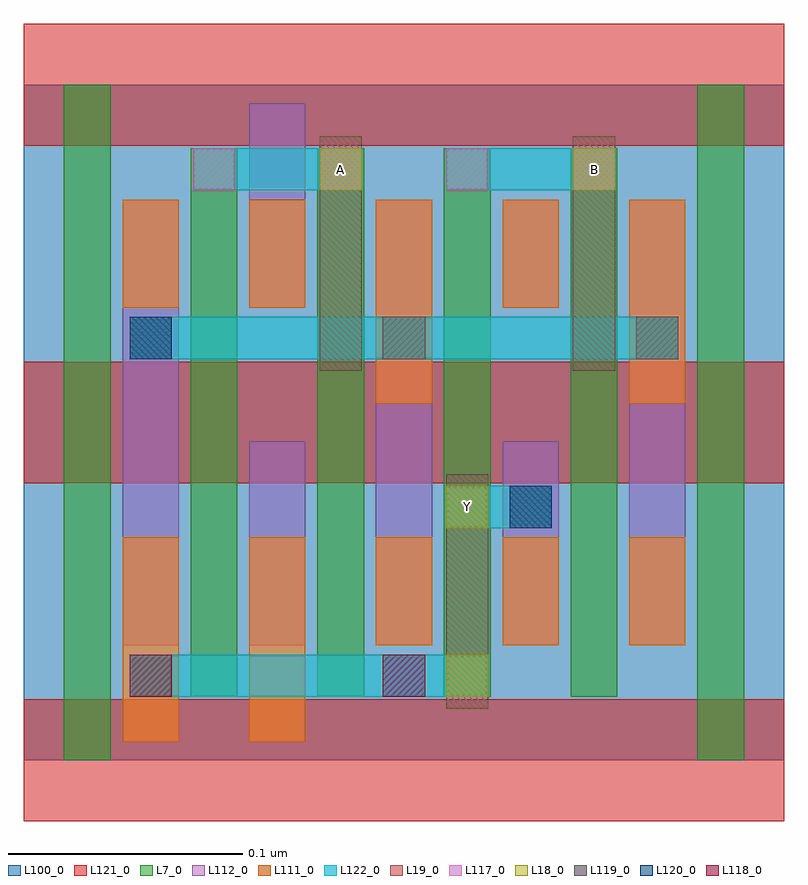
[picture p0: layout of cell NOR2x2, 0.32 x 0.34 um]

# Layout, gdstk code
import gdstk
lib = gdstk.Library(unit=1e-6, precision=2.5e-10)
def R(c, l, rs):  # rectangles x0, y0, x1, y1
    for r in rs: c.add(gdstk.rectangle(r[:2], r[2:], *l))
def A(c, l, x, y, w, h, nx, ny, dx, dy):  # array of equal rectangles
    R(c, l, [(x+i*dx, y+j*dy, x+i*dx+w, y+j*dy+h) for i in range(nx) for j in range(ny)])
L7_0 = (7, 0)
L18_0 = (18, 0)
L19_0 = (19, 0)
L100_0 = (100, 0)
L111_0 = (111, 0)
L112_0 = (112, 0)
L117_0 = (117, 0)
L118_0 = (118, 0)
L119_0 = (119, 0)
L120_0 = (120, 0)
L121_0 = (121, 0)
L122_0 = (122, 0)

nor2x2 = lib.new_cell('NOR2x2')
A(nor2x2, L7_0, 0.071, 0.027, 0.02, 0.117, 4, 2, 0.054, 0.117)
R(nor2x2, L7_0, [(0.017,0,0.037,0.144), (0.287,0,0.307,0.144), (0.017,0.144,0.037,0.288), (0.287,0.144,0.307,0.288)])
R(nor2x2, L18_0, [(0.18,0.027,0.198,0.045), (0.18,0.099,0.198,0.117), (0.126,0.243,0.144,0.261), (0.234,0.243,0.252,0.261)])
R(nor2x2, L19_0, [(0.18,0.022,0.198,0.122), (0.126,0.166,0.144,0.266), (0.234,0.166,0.252,0.266)])
R(nor2x2, L100_0, [(0,0,0.324,0.288)])
A(nor2x2, L111_0, 0.15, 0.049, 0.024, 0.046, 3, 1, 0.054, 0)
R(nor2x2, L111_0, [(0.042,0.008,0.066,0.095), (0.096,0.008,0.12,0.095), (0.15,0.152,0.174,0.239), (0.258,0.152,0.282,0.239), (0.042,0.193,0.066,0.239), (0.096,0.193,0.12,0.239), (0.204,0.193,0.228,0.239)])
A(nor2x2, L112_0, 0.042, 0.049, 0.024, 0.095, 3, 2, 0.108, 0.095)
R(nor2x2, L112_0, [(0.096,0.049,0.12,0.136), (0.204,0.049,0.228,0.136), (0.096,0.193,0.12,0.28), (0.204,0.193,0.228,0.239)])
A(nor2x2, L117_0, 0.072, 0.243, 0.018, 0.018, 4, 1, 0.054, 0)
R(nor2x2, L118_0, [(0.045,0.027,0.063,0.045), (0.153,0.027,0.171,0.045)])
A(nor2x2, L119_0, 0.045, 0.171, 0.018, 0.018, 3, 1, 0.108, 0)
R(nor2x2, L119_0, [(0.207,0.099,0.225,0.117)])
R(nor2x2, L120_0, [(0.207,0.099,0.225,0.117), (0.045,0.171,0.063,0.189)])
A(nor2x2, L121_0, 0, -0.026, 0.324, 0.052, 1, 3, 0, 0.144)
R(nor2x2, L122_0, [(0.045,0.027,0.198,0.045), (0.18,0.099,0.225,0.117), (0.045,0.171,0.279,0.189), (0.072,0.243,0.144,0.261), (0.18,0.243,0.252,0.261)])
nor2x2.add(gdstk.Label('Y', (0.189,0.108), layer=19, texttype=251))
nor2x2.add(gdstk.Label('B', (0.243,0.252), layer=19, texttype=251))
nor2x2.add(gdstk.Label('A', (0.135,0.252), layer=19, texttype=251))

lib.write_gds('NOR2x2.gds')
